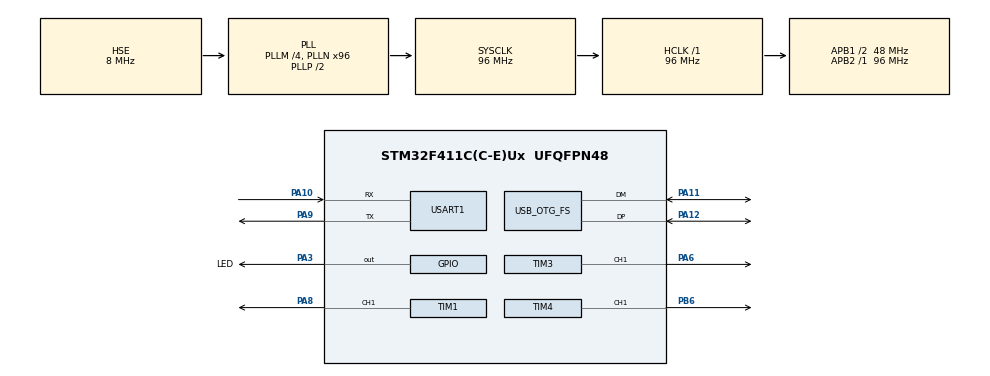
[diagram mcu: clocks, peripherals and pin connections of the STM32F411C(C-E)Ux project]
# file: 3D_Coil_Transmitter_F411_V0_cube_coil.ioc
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FREERTOS.Tasks01=defaultTask,0,128,StartDefaultTask,Default,NULL,Dynamic,NULL,NULL;myLedTask,-3,128,StartLedTask,Default,NULL,Dynamic,NULL,NULL;myUSBRecTas,0,128,StartUSBReceiveTask,Default,NULL,Dynamic,NULL,NULL;myUSBTrTask,0,128,StartUSBTransmitTask,Default,NULL,Dynamic,NULL,NULL
Mcu.Family=STM32F4
Mcu.Name=STM32F411C(C-E)Ux
Mcu.Package=UFQFPN48
Mcu.UserConstants=TIM1_PWM,1000;TIM4_PWM,2000;TIM3_PWM,3000;LED_Delay,200;TIM1_ARR,4000;TIM3_ARR,4000;TIM4_ARR,4000
NVIC.OTG_FS_IRQn=true\:5\:0\:false\:false\:true\:true\:false\:true
NVIC.PriorityGroup=NVIC_PRIORITYGROUP_4
NVIC.TIM1_TRG_COM_TIM11_IRQn=true\:0\:0\:false\:false\:true\:false\:false\:true
NVIC.TimeBase=TIM1_TRG_COM_TIM11_IRQn
NVIC.TimeBaseIP=TIM11
PA10.Mode=Asynchronous
PA10.Signal=USART1_RX
PA11.Mode=Device_Only
PA11.Signal=USB_OTG_FS_DM
PA12.Mode=Device_Only
PA12.Signal=USB_OTG_FS_DP
PA13.Mode=Serial_Wire
PA13.Signal=SYS_JTMS-SWDIO
PA14.Mode=Serial_Wire
PA14.Signal=SYS_JTCK-SWCLK
PA3.GPIO_Label=LED
PA3.Signal=GPIO_Output
PA6.Signal=S_TIM3_CH1
PA8.Signal=S_TIM1_CH1
PA9.Mode=Asynchronous
PA9.Signal=USART1_TX
PB6.Signal=S_TIM4_CH1
PH0\ -\ OSC_IN.Mode=HSE-External-Oscillator
PH0\ -\ OSC_IN.Signal=RCC_OSC_IN
PH1\ -\ OSC_OUT.Mode=HSE-External-Oscillator
PH1\ -\ OSC_OUT.Signal=RCC_OSC_OUT
ProjectManager.HeapSize=0x200
ProjectManager.StackSize=0x400
ProjectManager.TargetToolchain=MDK-ARM V5
RCC.48MHZClocksFreq_Value=48000000
RCC.AHBFreq_Value=96000000
RCC.APB1CLKDivider=RCC_HCLK_DIV2
RCC.APB1Freq_Value=48000000
RCC.APB1TimFreq_Value=96000000
RCC.APB2Freq_Value=96000000
RCC.APB2TimFreq_Value=96000000
RCC.CortexFreq_Value=96000000
RCC.HCLKFreq_Value=96000000
RCC.HSE_VALUE=8000000
RCC.HSI_VALUE=16000000
RCC.LSE_VALUE=32768
RCC.PLLM=4
RCC.PLLN=96
RCC.SYSCLKFreq_VALUE=96000000
RCC.SYSCLKSource=RCC_SYSCLKSOURCE_PLLCLK
RCC.VCOOutputFreq_Value=192000000
SH.S_TIM1_CH1.0=TIM1_CH1,PWM Generation1 CH1
SH.S_TIM3_CH1.0=TIM3_CH1,PWM Generation1 CH1
SH.S_TIM4_CH1.0=TIM4_CH1,PWM Generation1 CH1
TIM1.Channel-PWM\ Generation1\ CH1=TIM_CHANNEL_1
TIM1.Period=TIM1_ARR
TIM1.Pulse-PWM\ Generation1\ CH1=TIM1_PWM
TIM3.Channel-PWM\ Generation1\ CH1=TIM_CHANNEL_1
TIM3.Period=TIM3_ARR
TIM3.Pulse-PWM\ Generation1\ CH1=TIM3_PWM
TIM4.Channel-PWM\ Generation1\ CH1=TIM_CHANNEL_1
TIM4.Period=TIM4_ARR
TIM4.Pulse-PWM\ Generation1\ CH1=TIM4_PWM
USART1.VirtualMode=VM_ASYNC
USB_DEVICE.CLASS_NAME_FS=CUSTOM_HID
USB_DEVICE.USBD_CUSTOMHID_OUTREPORT_BUF_SIZE=64
USB_DEVICE.USBD_CUSTOM_HID_REPORT_DESC_SIZE=33
USB_DEVICE.VirtualMode=CustomHid
USB_DEVICE.VirtualModeFS=Custom_Hid_FS
USB_OTG_FS.VirtualMode=Device_Only
VP_FREERTOS_VS_CMSIS_V1.Mode=CMSIS_V1
VP_SYS_VS_tim11.Mode=TIM11
VP_USB_DEVICE_VS_USB_DEVICE_CUSTOM_HID_FS.Mode=CUSTOM_HID_FS
board=custom

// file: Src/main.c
/* USER CODE BEGIN Header */
/**
  ******************************************************************************
  * @file           : main.c
  * @brief          : Main program body
  ******************************************************************************
  * @attention
  *
  * <h2><center>&copy; Copyright (c) 2020 STMicroelectronics.
  * All rights reserved.</center></h2>
  *
  * This software component is licensed by ST under Ultimate Liberty license
  * SLA0044, the "License"; You may not use this file except in compliance with
  * the License. You may obtain a copy of the License at:
  *                             www.st.com/SLA0044
  *
  ******************************************************************************
  */
/* USER CODE END Header */

#include "main.h"
#include "cmsis_os.h"
#include "tim.h"
#include "usart.h"
#include "usb_device.h"
#include "gpio.h"

/* USER CODE BEGIN PD */

#define TIM1_Freq	20000
#define TIM3_Freq	21000
#define TIM4_Freq	22000

/* USER CODE END PD */

void SystemClock_Config(void);
void MX_FREERTOS_Init(void);

int main(void)
{

  /* MCU Configuration--------------------------------------------------------*/

  /* Reset of all peripherals, Initializes the Flash interface and the Systick. */
  HAL_Init();

  /* Configure the system clock */
  SystemClock_Config();

  /* Initialize all configured peripherals */
  MX_GPIO_Init();
  MX_TIM1_Init();
  MX_TIM3_Init();
  MX_TIM4_Init();
  MX_USART1_UART_Init();
  /* USER CODE BEGIN 2 */

  HAL_TIM_Base_Start(&htim1);
	HAL_TIM_PWM_Start(&htim1, TIM_CHANNEL_1);

  HAL_TIM_Base_Start(&htim3);
	HAL_TIM_PWM_Start(&htim3, TIM_CHANNEL_1);

  HAL_TIM_Base_Start(&htim4);
	HAL_TIM_PWM_Start(&htim4, TIM_CHANNEL_1);

	MX_USB_DEVICE_Init();
  /* USER CODE END 2 */

  /* Call init function for freertos objects (in freertos.c) */
  MX_FREERTOS_Init();
  /* Start scheduler */
  osKernelStart();

  /* We should never get here as control is now taken by the scheduler */
  /* Infinite loop */
  while (1)
  {

  }
}

void SystemClock_Config(void)
{
  RCC_OscInitTypeDef RCC_OscInitStruct = {0};
  RCC_ClkInitTypeDef RCC_ClkInitStruct = {0};

  /** Configure the main internal regulator output voltage
  */
  __HAL_RCC_PWR_CLK_ENABLE();
  __HAL_PWR_VOLTAGESCALING_CONFIG(PWR_REGULATOR_VOLTAGE_SCALE1);
  /** Initializes the CPU, AHB and APB busses clocks
  */
  RCC_OscInitStruct.OscillatorType = RCC_OSCILLATORTYPE_HSE;
  RCC_OscInitStruct.HSEState = RCC_HSE_ON;
  RCC_OscInitStruct.PLL.PLLState = RCC_PLL_ON;
  RCC_OscInitStruct.PLL.PLLSource = RCC_PLLSOURCE_HSE;
  RCC_OscInitStruct.PLL.PLLM = 4;
  RCC_OscInitStruct.PLL.PLLN = 96;
  RCC_OscInitStruct.PLL.PLLP = RCC_PLLP_DIV2;
  RCC_OscInitStruct.PLL.PLLQ = 4;
  if (HAL_RCC_OscConfig(&RCC_OscInitStruct) != HAL_OK)
  {
    Error_Handler();
  }
  /** Initializes the CPU, AHB and APB busses clocks
  */
  RCC_ClkInitStruct.ClockType = RCC_CLOCKTYPE_HCLK|RCC_CLOCKTYPE_SYSCLK
                              |RCC_CLOCKTYPE_PCLK1|RCC_CLOCKTYPE_PCLK2;
  RCC_ClkInitStruct.SYSCLKSource = RCC_SYSCLKSOURCE_PLLCLK;
  RCC_ClkInitStruct.AHBCLKDivider = RCC_SYSCLK_DIV1;
  RCC_ClkInitStruct.APB1CLKDivider = RCC_HCLK_DIV2;
  RCC_ClkInitStruct.APB2CLKDivider = RCC_HCLK_DIV1;

  if (HAL_RCC_ClockConfig(&RCC_ClkInitStruct, FLASH_LATENCY_3) != HAL_OK)
  {
    Error_Handler();
  }
}

 /**
  * @brief  Period elapsed callback in non blocking mode
  * @note   This function is called  when TIM11 interrupt took place, inside
  * HAL_TIM_IRQHandler(). It makes a direct call to HAL_IncTick() to increment
  * a global variable "uwTick" used as application time base.
  * @param  htim : TIM handle
  * @retval None
  */
void HAL_TIM_PeriodElapsedCallback(TIM_HandleTypeDef *htim)
{
  if (htim->Instance == TIM11) {
    HAL_IncTick();
  }
}

void Error_Handler(void)
{
}

/************************ (C) COPYRIGHT STMicroelectronics *****END OF FILE****/

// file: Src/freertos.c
/* USER CODE BEGIN Header */
/**
  ******************************************************************************
  * File Name          : freertos.c
  * Description        : Code for freertos applications
  ******************************************************************************
  * @attention
  *
  * <h2><center>&copy; Copyright (c) 2020 STMicroelectronics.
  * All rights reserved.</center></h2>
  *
  * This software component is licensed by ST under Ultimate Liberty license
  * SLA0044, the "License"; You may not use this file except in compliance with
  * the License. You may obtain a copy of the License at:
  *                             www.st.com/SLA0044
  *
  ******************************************************************************
  */
/* USER CODE END Header */

#include "FreeRTOS.h"
#include "task.h"
#include "main.h"
#include "cmsis_os.h"

/* USER CODE BEGIN Includes */
#include "usbd_custom_hid_if.h"
/* USER CODE END Includes */

/* USER CODE BEGIN Variables */
extern uint8_t dataToReceive[64];
uint8_t blink_delay = 0xff;
//uint8_t dataToSend_TRND[USB_HID_DATA_TO_HOST_LENGTH + 1], *p1;

//uint8_t USB_HID_dataToSend[USB_HID_DATA_TO_HOST_LENGTH + 1];
uint8_t USB_HID_dataToSend[USB_HID_DATA_TO_HOST_LENGTH + 1] = {1, 2, 3, 4,};
extern USBD_HandleTypeDef hUsbDeviceFS;
 uint8_t flag;
 uint8_t usb_hid_rec_mes;
/* USER CODE END Variables */
osThreadId defaultTaskHandle;
osThreadId myLedTaskHandle;
osThreadId myUSBRecTasHandle;
osThreadId myUSBTrTaskHandle;

void StartDefaultTask(void const * argument);
void StartLedTask(void const * argument);
void StartUSBReceiveTask(void const * argument);
void StartUSBTransmitTask(void const * argument);

extern void MX_USB_DEVICE_Init(void);
void MX_FREERTOS_Init(void); /* (MISRA C 2004 rule 8.1) */

/* GetIdleTaskMemory prototype (linked to static allocation support) */
void vApplicationGetIdleTaskMemory( StaticTask_t **ppxIdleTaskTCBBuffer, StackType_t **ppxIdleTaskStackBuffer, uint32_t *pulIdleTaskStackSize );

/* USER CODE BEGIN GET_IDLE_TASK_MEMORY */
static StaticTask_t xIdleTaskTCBBuffer;
static StackType_t xIdleStack[configMINIMAL_STACK_SIZE];

void vApplicationGetIdleTaskMemory( StaticTask_t **ppxIdleTaskTCBBuffer, StackType_t **ppxIdleTaskStackBuffer, uint32_t *pulIdleTaskStackSize )
{
  *ppxIdleTaskTCBBuffer = &xIdleTaskTCBBuffer;
  *ppxIdleTaskStackBuffer = &xIdleStack[0];
  *pulIdleTaskStackSize = configMINIMAL_STACK_SIZE;
  /* place for user code */
}
/* USER CODE END GET_IDLE_TASK_MEMORY */

void MX_FREERTOS_Init(void) {

  /* Create the thread(s) */
  /* definition and creation of defaultTask */
  osThreadDef(defaultTask, StartDefaultTask, osPriorityNormal, 0, 128);
  defaultTaskHandle = osThreadCreate(osThread(defaultTask), NULL);

  /* definition and creation of myLedTask */
  osThreadDef(myLedTask, StartLedTask, osPriorityIdle, 0, 128);
  myLedTaskHandle = osThreadCreate(osThread(myLedTask), NULL);

  /* definition and creation of myUSBRecTas */
  osThreadDef(myUSBRecTas, StartUSBReceiveTask, osPriorityNormal, 0, 128);
  myUSBRecTasHandle = osThreadCreate(osThread(myUSBRecTas), NULL);

  /* definition and creation of myUSBTrTask */
  osThreadDef(myUSBTrTask, StartUSBTransmitTask, osPriorityNormal, 0, 128);
  myUSBTrTaskHandle = osThreadCreate(osThread(myUSBTrTask), NULL);

}

void StartDefaultTask(void const * argument)
{
  /* init code for USB_DEVICE */
  MX_USB_DEVICE_Init();
  for(;;)
  {
    osDelay(1);
  }
}

void StartLedTask(void const * argument)
{
  /* USER CODE BEGIN StartLedTask */
  /* Infinite loop */
  for(;;)
  {
		HAL_GPIO_TogglePin(LED_GPIO_Port, LED_Pin);
    osDelay(0x35 + 4 * blink_delay);
  }
  /* USER CODE END StartLedTask */
}

void StartUSBReceiveTask(void const * argument)
{
  /* USER CODE BEGIN StartUSBReceiveTask */
  /* Infinite loop */
  for(;;)
  {
						if(dataToReceive[0] == 0) {
							usb_hid_rec_mes &= ~(1 << dataToReceive[1]);}
		else 	if(dataToReceive[0] == 1) {
					usb_hid_rec_mes |= (1 << dataToReceive[1]);}

				if(dataToReceive[0] == 4){
					blink_delay = dataToReceive[1];
					if(dataToReceive[1] == 0xff){
						dataToReceive[1]+=1;
						flag = 1;}
					}
    osDelay(100);
  }
  /* USER CODE END StartUSBReceiveTask */
}

void StartUSBTransmitTask(void const * argument)
{
  /* USER CODE BEGIN StartUSBTransmitTask */
  /* Infinite loop */
  for(;;)
  {
				if(flag)	{
					flag = 0;
					USBD_CUSTOM_HID_SendReport(&hUsbDeviceFS, USB_HID_dataToSend, sizeof(USB_HID_dataToSend));}
    osDelay(100);
  }
  /* USER CODE END StartUSBTransmitTask */
}

/************************ (C) COPYRIGHT STMicroelectronics *****END OF FILE****/
